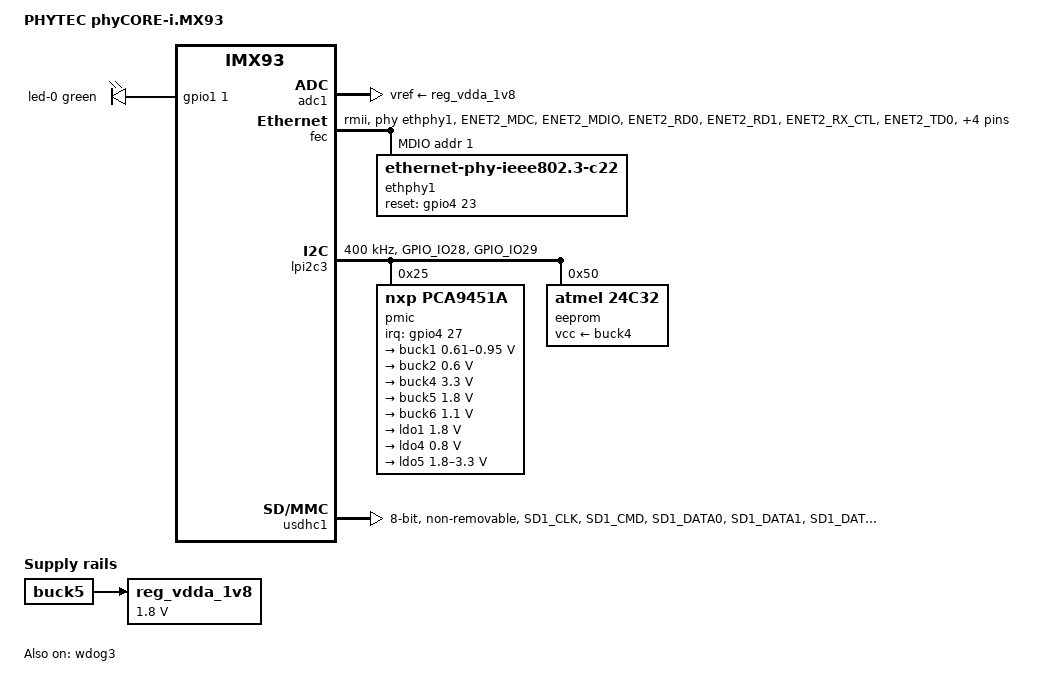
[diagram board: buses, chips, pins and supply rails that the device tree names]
// SPDX-License-Identifier: (GPL-2.0+ OR MIT)
/*
 * Copyright (C) 2023 PHYTEC Messtechnik GmbH
 * Author: Wadim Egorov <w.egorov@phytec.de>, Christoph Stoidner <c.stoidner@phytec.de>
 * Copyright (C) 2024 Mathieu Othacehe <m.othacehe@gmail.com>
 *
 * Product homepage:
 * https://www.phytec.eu/en/produkte/system-on-modules/phycore-imx-91-93/
 */

#include <dt-bindings/leds/common.h>

#include "imx93.dtsi"

/{
	model = "PHYTEC phyCORE-i.MX93";
	compatible = "phytec,imx93-phycore-som", "fsl,imx93";

	aliases {
		ethernet0 = &fec;
	};

	reserved-memory {
		ranges;
		#address-cells = <2>;
		#size-cells = <2>;

		linux,cma {
			compatible = "shared-dma-pool";
			reusable;
			alloc-ranges = <0 0x80000000 0 0x40000000>;
			size = <0 0x10000000>;
			linux,cma-default;
		};
	};

	leds {
		compatible = "gpio-leds";
		pinctrl-names = "default";
		pinctrl-0 = <&pinctrl_leds>;

		led-0 {
			color = <LED_COLOR_ID_GREEN>;
			function = LED_FUNCTION_HEARTBEAT;
			gpios = <&gpio1 1 GPIO_ACTIVE_HIGH>;
			linux,default-trigger = "heartbeat";
		};
	};

	reg_vdda_1v8: regulator-vdda-1v8 {
		compatible = "regulator-fixed";
		regulator-name = "VDDA_1V8";
		regulator-min-microvolt = <1800000>;
		regulator-max-microvolt = <1800000>;
		vin-supply = <&buck5>;
	};
};

/* ADC */
&adc1 {
	vref-supply = <&reg_vdda_1v8>;
};

/* Ethernet */
&fec {
	pinctrl-names = "default";
	pinctrl-0 = <&pinctrl_fec>;
	phy-mode = "rmii";
	phy-handle = <&ethphy1>;
	assigned-clocks = <&clk IMX93_CLK_ENET_TIMER1>,
			  <&clk IMX93_CLK_ENET_REF>,
			  <&clk IMX93_CLK_ENET_REF_PHY>;
	assigned-clock-parents = <&clk IMX93_CLK_SYS_PLL_PFD1_DIV2>,
				 <&clk IMX93_CLK_SYS_PLL_PFD1_DIV2>,
				 <&clk IMX93_CLK_SYS_PLL_PFD1_DIV2>;
	assigned-clock-rates = <100000000>, <50000000>, <50000000>;
	status = "okay";

	mdio: mdio {
		clock-frequency = <5000000>;
		#address-cells = <1>;
		#size-cells = <0>;

		ethphy1: ethernet-phy@1 {
			compatible = "ethernet-phy-ieee802.3-c22";
			reg = <1>;
			reset-gpios = <&gpio4 23 GPIO_ACTIVE_HIGH>;
			reset-assert-us = <30>;
		};
	};
};

/* I2C3 */
&lpi2c3 {
	clock-frequency = <400000>;
	pinctrl-names = "default";
	pinctrl-0 = <&pinctrl_lpi2c3>;
	status = "okay";

	pmic@25 {
		compatible = "nxp,pca9451a";
		reg = <0x25>;
		pinctrl-names = "default";
		pinctrl-0 = <&pinctrl_pmic>;
		interrupt-parent = <&gpio4>;
		interrupts = <27 IRQ_TYPE_LEVEL_LOW>;

		regulators {
			buck1: BUCK1 {
				regulator-name = "VDD_SOC";
				regulator-min-microvolt = <610000>;
				regulator-max-microvolt = <950000>;
				regulator-boot-on;
				regulator-always-on;
				regulator-ramp-delay = <3125>;
			};

			buck2: BUCK2 {
				regulator-name = "VDDQ_0V6";
				regulator-min-microvolt = <600000>;
				regulator-max-microvolt = <600000>;
				regulator-boot-on;
				regulator-always-on;
			};

			buck4: BUCK4 {
				regulator-name = "VDD_3V3_BUCK";
				regulator-min-microvolt = <3300000>;
				regulator-max-microvolt = <3300000>;
				regulator-boot-on;
				regulator-always-on;
			};

			buck5: BUCK5 {
				regulator-name = "VDD_1V8";
				regulator-min-microvolt = <1800000>;
				regulator-max-microvolt = <1800000>;
				regulator-boot-on;
				regulator-always-on;
			};

			buck6: BUCK6 {
				regulator-name = "VDD_1V1";
				regulator-min-microvolt = <1100000>;
				regulator-max-microvolt = <1100000>;
				regulator-boot-on;
				regulator-always-on;
			};

			ldo1: LDO1 {
				regulator-name = "PMIC_SNVS_1V8";
				regulator-min-microvolt = <1800000>;
				regulator-max-microvolt = <1800000>;
				regulator-boot-on;
				regulator-always-on;
			};

			ldo4: LDO4 {
				regulator-name = "VDD_0V8";
				regulator-min-microvolt = <800000>;
				regulator-max-microvolt = <800000>;
				regulator-boot-on;
				regulator-always-on;
			};

			ldo5: LDO5 {
				regulator-name = "NVCC_SD2";
				regulator-min-microvolt = <1800000>;
				regulator-max-microvolt = <3300000>;
				regulator-boot-on;
				regulator-always-on;
			};
		};
	};

	/* EEPROM */
	eeprom@50 {
		compatible = "atmel,24c32";
		reg = <0x50>;
		pagesize = <32>;
		vcc-supply = <&buck4>;
	};
};

/* eMMC */
&usdhc1 {
	pinctrl-names = "default", "state_100mhz", "state_200mhz";
	pinctrl-0 = <&pinctrl_usdhc1>;
	pinctrl-1 = <&pinctrl_usdhc1_100mhz>;
	pinctrl-2 = <&pinctrl_usdhc1_200mhz>;
	bus-width = <8>;
	non-removable;
	no-1-8-v;
	status = "okay";
};

/* Watchdog */
&wdog3 {
	pinctrl-names = "default";
	pinctrl-0 = <&pinctrl_wdog>;
	fsl,ext-reset-output;
	status = "okay";
};

&iomuxc {
	pinctrl_fec: fecgrp {
		fsl,pins = <
			MX93_PAD_ENET2_MDC__ENET1_MDC			0x50e
			MX93_PAD_ENET2_MDIO__ENET1_MDIO			0x502
			/* the three pins below are connected to PHYs straps,
			 * that is what the pull-up/down setting is for.
			 */
			MX93_PAD_ENET2_RD0__ENET1_RGMII_RD0		0x37e
			MX93_PAD_ENET2_RD1__ENET1_RGMII_RD1		0x37e
			MX93_PAD_ENET2_RX_CTL__ENET1_RGMII_RX_CTL	0x57e
			MX93_PAD_ENET2_TD0__ENET1_RGMII_TD0		0x50e
			MX93_PAD_ENET2_TD1__ENET1_RGMII_TD1		0x50e
			MX93_PAD_ENET2_TX_CTL__ENET1_RGMII_TX_CTL	0x50e
			MX93_PAD_ENET2_TD2__ENET1_TX_CLK		0x4000050e
			MX93_PAD_ENET2_RXC__GPIO4_IO23			0x51e
		>;
	};

	pinctrl_leds: ledsgrp {
		fsl,pins = <
			MX93_PAD_I2C1_SDA__GPIO1_IO01		0x11e
		>;
	};

	pinctrl_lpi2c3: lpi2c3grp {
		fsl,pins = <
			MX93_PAD_GPIO_IO28__LPI2C3_SDA		0x40000b9e
			MX93_PAD_GPIO_IO29__LPI2C3_SCL		0x40000b9e
		>;
	};

	pinctrl_pmic: pmicgrp {
		fsl,pins = <
			MX93_PAD_ENET2_RD3__GPIO4_IO27		0x31e
		>;
	};

	/* need to config the SION for data and cmd pad, refer to ERR052021 */
	pinctrl_usdhc1: usdhc1grp {
		fsl,pins = <
			MX93_PAD_SD1_CLK__USDHC1_CLK		0x179e
			MX93_PAD_SD1_CMD__USDHC1_CMD		0x40001386
			MX93_PAD_SD1_DATA0__USDHC1_DATA0	0x4000138e
			MX93_PAD_SD1_DATA1__USDHC1_DATA1	0x40001386
			MX93_PAD_SD1_DATA2__USDHC1_DATA2	0x4000138e
			MX93_PAD_SD1_DATA3__USDHC1_DATA3	0x40001386
			MX93_PAD_SD1_DATA4__USDHC1_DATA4	0x40001386
			MX93_PAD_SD1_DATA5__USDHC1_DATA5	0x40001386
			MX93_PAD_SD1_DATA6__USDHC1_DATA6	0x40001386
			MX93_PAD_SD1_DATA7__USDHC1_DATA7	0x40001386
			MX93_PAD_SD1_STROBE__USDHC1_STROBE	0x179e
		>;
	};

	/* need to config the SION for data and cmd pad, refer to ERR052021 */
	pinctrl_usdhc1_100mhz: usdhc1-100mhzgrp {
		fsl,pins = <
			MX93_PAD_SD1_CLK__USDHC1_CLK		0x17be
			MX93_PAD_SD1_CMD__USDHC1_CMD		0x4000139e
			MX93_PAD_SD1_DATA0__USDHC1_DATA0	0x4000138e
			MX93_PAD_SD1_DATA1__USDHC1_DATA1	0x4000139e
			MX93_PAD_SD1_DATA2__USDHC1_DATA2	0x400013be
			MX93_PAD_SD1_DATA3__USDHC1_DATA3	0x4000139e
			MX93_PAD_SD1_DATA4__USDHC1_DATA4	0x4000139e
			MX93_PAD_SD1_DATA5__USDHC1_DATA5	0x4000139e
			MX93_PAD_SD1_DATA6__USDHC1_DATA6	0x4000139e
			MX93_PAD_SD1_DATA7__USDHC1_DATA7	0x4000139e
			MX93_PAD_SD1_STROBE__USDHC1_STROBE	0x179e
		>;
	};

	/* need to config the SION for data and cmd pad, refer to ERR052021 */
	pinctrl_usdhc1_200mhz: usdhc1-200mhzgrp {
		fsl,pins = <
			MX93_PAD_SD1_CLK__USDHC1_CLK		0x17be
			MX93_PAD_SD1_CMD__USDHC1_CMD		0x4000139e
			MX93_PAD_SD1_DATA0__USDHC1_DATA0	0x4000139e
			MX93_PAD_SD1_DATA1__USDHC1_DATA1	0x400013be
			MX93_PAD_SD1_DATA2__USDHC1_DATA2	0x400013be
			MX93_PAD_SD1_DATA3__USDHC1_DATA3	0x400013be
			MX93_PAD_SD1_DATA4__USDHC1_DATA4	0x400013be
			MX93_PAD_SD1_DATA5__USDHC1_DATA5	0x400013be
			MX93_PAD_SD1_DATA6__USDHC1_DATA6	0x400013be
			MX93_PAD_SD1_DATA7__USDHC1_DATA7	0x400013be
			MX93_PAD_SD1_STROBE__USDHC1_STROBE	0x179e
		>;
	};

	pinctrl_wdog: wdoggrp {
		fsl,pins = <
			MX93_PAD_WDOG_ANY__WDOG1_WDOG_ANY	0x31e
		>;
	};
};
